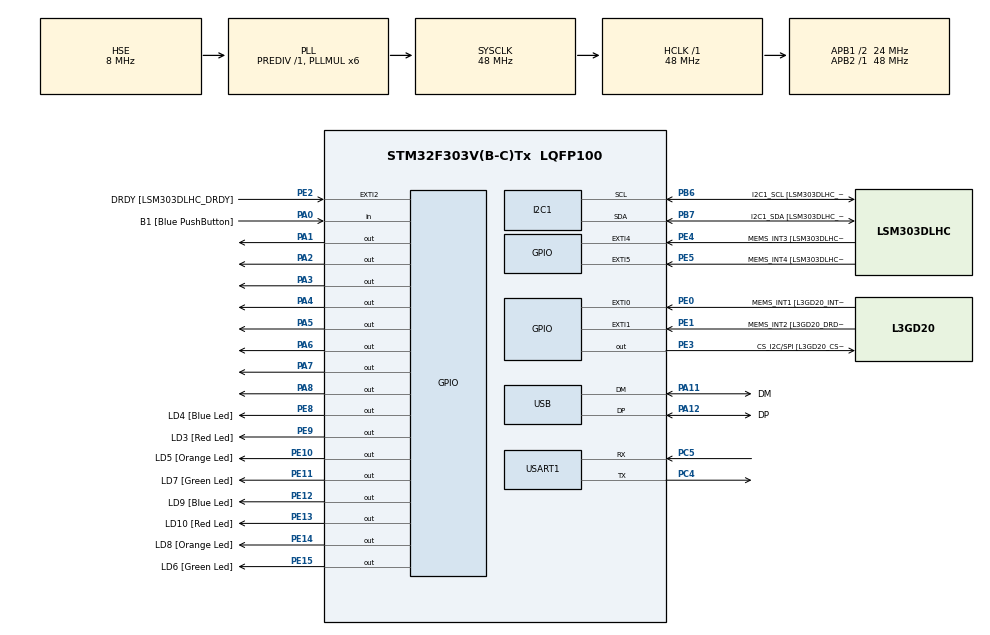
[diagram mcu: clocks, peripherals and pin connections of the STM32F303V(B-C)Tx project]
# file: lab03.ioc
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I2C1.Timing=0x00201D2B
I2C1.Timing-I2C=0x2000090E
Mcu.Family=STM32F3
Mcu.Name=STM32F303V(B-C)Tx
Mcu.Package=LQFP100
NVIC.PriorityGroup=NVIC_PRIORITYGROUP_0
NVIC.USB_LP_CAN_RX0_IRQn=true\:0\:0\:false\:false\:true\:false\:true\:true
PA0.GPIO_Label=B1 [Blue PushButton]
PA0.Signal=GPIO_Input
PA1.Signal=GPIO_Output
PA11.GPIO_Label=DM
PA11.Mode=Device
PA11.Signal=USB_DM
PA12.GPIO_Label=DP
PA12.Mode=Device
PA12.Signal=USB_DP
PA13.GPIO_Label=SWDIO
PA13.Mode=Serial_Wire
PA13.Signal=SYS_JTMS-SWDIO
PA14.GPIO_Label=SWCLK
PA14.Mode=Serial_Wire
PA14.Signal=SYS_JTCK-SWCLK
PA2.Signal=GPIO_Output
PA3.Signal=GPIO_Output
PA4.Signal=GPIO_Output
PA5.Signal=GPIO_Output
PA6.Signal=GPIO_Output
PA7.Signal=GPIO_Output
PA8.Signal=GPIO_Output
PB3.GPIO_Label=SWO
PB3.Signal=SYS_JTDO-TRACESWO
PB6.GPIO_Label=I2C1_SCL [LSM303DLHC_SCL]
PB6.GPIO_Pu=GPIO_PULLUP
PB6.Mode=I2C
PB6.Signal=I2C1_SCL
PB7.GPIO_Label=I2C1_SDA [LSM303DLHC_SDA]
PB7.GPIO_Pu=GPIO_PULLUP
PB7.Mode=I2C
PB7.Signal=I2C1_SDA
PC14-OSC32_IN.GPIO_Label=OSC32_IN
PC14-OSC32_IN.Signal=RCC_OSC32_IN
PC15-OSC32_OUT.GPIO_Label=OSC32_OUT
PC15-OSC32_OUT.Signal=RCC_OSC32_OUT
PC4.Mode=Asynchronous
PC4.Signal=USART1_TX
PC5.Mode=Asynchronous
PC5.Signal=USART1_RX
PE0.GPIO_Label=MEMS_INT1 [L3GD20_INT1]
PE0.GPIO_ModeDefaultEXTI=GPIO_MODE_EVT_RISING
PE0.Signal=GPXTI0
PE1.GPIO_Label=MEMS_INT2 [L3GD20_DRDY/INT2]
PE1.GPIO_ModeDefaultEXTI=GPIO_MODE_EVT_RISING
PE1.Signal=GPXTI1
PE10.GPIO_Label=LD5 [Orange Led]
PE10.Signal=GPIO_Output
PE11.GPIO_Label=LD7 [Green Led]
PE11.Signal=GPIO_Output
PE12.GPIO_Label=LD9 [Blue Led]
PE12.Signal=GPIO_Output
PE13.GPIO_Label=LD10 [Red Led]
PE13.Signal=GPIO_Output
PE14.GPIO_Label=LD8 [Orange Led]
PE14.Signal=GPIO_Output
PE15.GPIO_Label=LD6 [Green Led]
PE15.Signal=GPIO_Output
PE2.GPIO_Label=DRDY [LSM303DLHC_DRDY]
PE2.GPIO_ModeDefaultEXTI=GPIO_MODE_EVT_RISING
PE2.Signal=GPXTI2
PE3.GPIO_Label=CS_I2C/SPI [L3GD20_CS_I2C/SPI]
PE3.Signal=GPIO_Output
PE4.GPIO_Label=MEMS_INT3 [LSM303DLHC_INT1]
PE4.GPIO_ModeDefaultEXTI=GPIO_MODE_EVT_RISING
PE4.Signal=GPXTI4
PE5.GPIO_Label=MEMS_INT4 [LSM303DLHC_INT2]
PE5.GPIO_ModeDefaultEXTI=GPIO_MODE_EVT_RISING
PE5.Signal=GPXTI5
PE8.GPIO_Label=LD4 [Blue Led]
PE8.Signal=GPIO_Output
PE9.GPIO_Label=LD3 [Red Led]
PE9.Signal=GPIO_Output
PF0-OSC_IN.GPIO_Label=OSC_IN
PF0-OSC_IN.Mode=HSE-External-Clock-Source
PF0-OSC_IN.Signal=RCC_OSC_IN
PF1-OSC_OUT.GPIO_Label=OSC_OUT
PF1-OSC_OUT.Signal=RCC_OSC_OUT
ProjectManager.HeapSize=0x200
ProjectManager.StackSize=0x400
ProjectManager.TargetToolchain=CMake
RCC.AHBFreq_Value=48000000
RCC.APB1CLKDivider=RCC_HCLK_DIV2
RCC.APB1Freq_Value=24000000
RCC.APB1TimFreq_Value=48000000
RCC.APB2Freq_Value=48000000
RCC.APB2TimFreq_Value=48000000
RCC.CortexFreq_Value=48000000
RCC.HCLKFreq_Value=48000000
RCC.HSE_VALUE=8000000
RCC.HSI_VALUE=8000000
RCC.LSE_VALUE=32768
RCC.PLLMUL=RCC_PLL_MUL6
RCC.SYSCLKFreq_VALUE=48000000
RCC.SYSCLKSourceVirtual=RCC_SYSCLKSOURCE_PLLCLK
RCC.USBFreq_Value=48000000
USART1.VirtualMode-Asynchronous=VM_ASYNC
USB_DEVICE.CLASS_NAME_FS=CDC
USB_DEVICE.VirtualMode=Cdc
USB_DEVICE.VirtualModeFS=Cdc_FS
VP_USB_DEVICE_VS_USB_DEVICE_CDC_FS.Mode=CDC_FS
board=STM32F3DISCOVERY

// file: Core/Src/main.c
/* USER CODE BEGIN Header */
/**
  ******************************************************************************
  * @file           : main.c
  * @brief          : Main program body
  ******************************************************************************
  * @attention
  *
  * Copyright (c) 2026 STMicroelectronics.
  * All rights reserved.
  *
  * This software is licensed under terms that can be found in the LICENSE file
  * in the root directory of this software component.
  * If no LICENSE file comes with this software, it is provided AS-IS.
  *
  ******************************************************************************
  */
/* USER CODE END Header */
#include "main.h"
#include "usb_device.h"
#include <stdlib.h>

I2C_HandleTypeDef hi2c1;

UART_HandleTypeDef huart1;

void SystemClock_Config(void);
static void MX_GPIO_Init(void);
static void MX_I2C1_Init(void);
static void MX_USART1_UART_Init(void);

/* USER CODE BEGIN 0 */
// Lookup table for Common Anode 7-segment display (0-F)
const uint8_t segment_map[16] = {
    0x40, 0x79, 0x24, 0x30, 0x19, 0x12, 0x02, 0x78,
    0x00, 0x10, 0x08, 0x03, 0x46, 0x21, 0x06, 0x0E
};

// Explicitly mapping segments a-g to PA1-PA7
const uint16_t segment_pins[7] = {
    GPIO_PIN_1, // Index 0: Segment a
    GPIO_PIN_2, // Index 1: Segment b
    GPIO_PIN_3, // Index 2: Segment c
    GPIO_PIN_4, // Index 3: Segment d
    GPIO_PIN_5, // Index 4: Segment e
    GPIO_PIN_6, // Index 5: Segment f
    GPIO_PIN_7  // Index 6: Segment g
};

const uint8_t student_id[5] = {1, 0, 3, 3, 9}; // Example student ID

// Maps each digit to the correct GPIO output combination
void display_number(uint8_t num) {
    uint8_t pattern = segment_map[num];

    for (int i = 0; i < 7; i++) {
        // pattern >> i & 1 extracts the specific bit for the current segment
        HAL_GPIO_WritePin(GPIOA, segment_pins[i], (pattern >> i) & 1);
    }
}
/* USER CODE END 0 */

int main(void)
{

  /* MCU Configuration--------------------------------------------------------*/

  /* Reset of all peripherals, Initializes the Flash interface and the Systick. */
  HAL_Init();

  /* Configure the system clock */
  SystemClock_Config();

  /* Initialize all configured peripherals */
  MX_GPIO_Init();
  MX_I2C1_Init();
  MX_USART1_UART_Init();
  MX_USB_DEVICE_Init();
  /* USER CODE BEGIN 2 */
  int i = 0;
  uint8_t counter = 0; // Initialize counter to 0
  display_number(counter);

  /* USER CODE END 2 */

  /* Infinite loop */
  /* USER CODE BEGIN WHILE */

  while (1)
  {
    // taSK 1 Loop to display each value from 0 to 15 in sequence
    // for (uint8_t i = 0; i <= 15; i++) {
    //     display_number(i);

    //     // Delay for 2 seconds between transitions
    //     HAL_Delay(2000);
    // }

    //---->> taSK 2

    // if (HAL_GPIO_ReadPin(GPIOA, GPIO_PIN_0)) {
    //       display_number(student_id[i]);
    //       i = (i + 1) % 5;

    //       HAL_Delay(200);

    //       while (HAL_GPIO_ReadPin(GPIOA, GPIO_PIN_0)) {
    //           HAL_Delay(10);
    //       }
    //   }

      //------> task 2 end

      // --------> task 3

      // //INCREMENT
      // if (HAL_GPIO_ReadPin(GPIOA, GPIO_PIN_0)) {

      //     counter = (counter + 1) % 16; // Add 1, wrap back to 0 if it reaches 16
      //     display_number(counter);

      //     // Debouncing and wait-for-release logic[cite: 1]
      //     HAL_Delay(200);
      //     while (HAL_GPIO_ReadPin(GPIOA, GPIO_PIN_0) ) {
      //         HAL_Delay(10);
      //     }
      // }

      // // DECREMENT (
      // if (HAL_GPIO_ReadPin(GPIOA, GPIO_PIN_8)) {

      //     if (counter == 0) {
      //         counter = 15; // Wrap around to F (15) if currently 0
      //     } else {
      //         counter--;    // Subtract 1
      //     }
      //     display_number(counter);

      //     // Debouncing
      //     HAL_Delay(200);
      //     while (HAL_GPIO_ReadPin(GPIOA, GPIO_PIN_8) ) {
      //         HAL_Delay(10);
      //     }
      // }

      //---> task 3 end

      // --------> task 4

      // Check if the USER button (PA0) is pressed[cite: 1]
      if (HAL_GPIO_ReadPin(GPIOA, GPIO_PIN_0) ) {

          // Generate a random digit from 1 to 6[cite: 1]
          uint8_t random_digit = (rand() % 6) + 1;
          display_number(random_digit);

          // Debounce delay
          HAL_Delay(200);

          // Wait-for-release loop to prevent rapid continuous rolling
          while (HAL_GPIO_ReadPin(GPIOA, GPIO_PIN_0) ) {
              HAL_Delay(10);
          }
      }

    /* USER CODE END WHILE */

  }
}

void SystemClock_Config(void)
{
  RCC_OscInitTypeDef RCC_OscInitStruct = {0};
  RCC_ClkInitTypeDef RCC_ClkInitStruct = {0};
  RCC_PeriphCLKInitTypeDef PeriphClkInit = {0};

  /** Initializes the RCC Oscillators according to the specified parameters
  * in the RCC_OscInitTypeDef structure.
  */
  RCC_OscInitStruct.OscillatorType = RCC_OSCILLATORTYPE_HSI|RCC_OSCILLATORTYPE_HSE;
  RCC_OscInitStruct.HSEState = RCC_HSE_BYPASS;
  RCC_OscInitStruct.HSEPredivValue = RCC_HSE_PREDIV_DIV1;
  RCC_OscInitStruct.HSIState = RCC_HSI_ON;
  RCC_OscInitStruct.HSICalibrationValue = RCC_HSICALIBRATION_DEFAULT;
  RCC_OscInitStruct.PLL.PLLState = RCC_PLL_ON;
  RCC_OscInitStruct.PLL.PLLSource = RCC_PLLSOURCE_HSE;
  RCC_OscInitStruct.PLL.PLLMUL = RCC_PLL_MUL6;
  if (HAL_RCC_OscConfig(&RCC_OscInitStruct) != HAL_OK)
  {
    Error_Handler();
  }

  /** Initializes the CPU, AHB and APB buses clocks
  */
  RCC_ClkInitStruct.ClockType = RCC_CLOCKTYPE_HCLK|RCC_CLOCKTYPE_SYSCLK
                              |RCC_CLOCKTYPE_PCLK1|RCC_CLOCKTYPE_PCLK2;
  RCC_ClkInitStruct.SYSCLKSource = RCC_SYSCLKSOURCE_PLLCLK;
  RCC_ClkInitStruct.AHBCLKDivider = RCC_SYSCLK_DIV1;
  RCC_ClkInitStruct.APB1CLKDivider = RCC_HCLK_DIV2;
  RCC_ClkInitStruct.APB2CLKDivider = RCC_HCLK_DIV1;

  if (HAL_RCC_ClockConfig(&RCC_ClkInitStruct, FLASH_LATENCY_1) != HAL_OK)
  {
    Error_Handler();
  }
  PeriphClkInit.PeriphClockSelection = RCC_PERIPHCLK_USB|RCC_PERIPHCLK_USART1
                              |RCC_PERIPHCLK_I2C1;
  PeriphClkInit.Usart1ClockSelection = RCC_USART1CLKSOURCE_PCLK2;
  PeriphClkInit.I2c1ClockSelection = RCC_I2C1CLKSOURCE_HSI;
  PeriphClkInit.USBClockSelection = RCC_USBCLKSOURCE_PLL;
  if (HAL_RCCEx_PeriphCLKConfig(&PeriphClkInit) != HAL_OK)
  {
    Error_Handler();
  }
}

static void MX_I2C1_Init(void)
{

  hi2c1.Instance = I2C1;
  hi2c1.Init.Timing = 0x00201D2B;
  hi2c1.Init.OwnAddress1 = 0;
  hi2c1.Init.AddressingMode = I2C_ADDRESSINGMODE_7BIT;
  hi2c1.Init.DualAddressMode = I2C_DUALADDRESS_DISABLE;
  hi2c1.Init.OwnAddress2 = 0;
  hi2c1.Init.OwnAddress2Masks = I2C_OA2_NOMASK;
  hi2c1.Init.GeneralCallMode = I2C_GENERALCALL_DISABLE;
  hi2c1.Init.NoStretchMode = I2C_NOSTRETCH_DISABLE;
  if (HAL_I2C_Init(&hi2c1) != HAL_OK)
  {
    Error_Handler();
  }

  /** Configure Analogue filter
  */
  if (HAL_I2CEx_ConfigAnalogFilter(&hi2c1, I2C_ANALOGFILTER_ENABLE) != HAL_OK)
  {
    Error_Handler();
  }

  /** Configure Digital filter
  */
  if (HAL_I2CEx_ConfigDigitalFilter(&hi2c1, 0) != HAL_OK)
  {
    Error_Handler();
  }

}

static void MX_USART1_UART_Init(void)
{

  huart1.Instance = USART1;
  huart1.Init.BaudRate = 38400;
  huart1.Init.WordLength = UART_WORDLENGTH_8B;
  huart1.Init.StopBits = UART_STOPBITS_1;
  huart1.Init.Parity = UART_PARITY_NONE;
  huart1.Init.Mode = UART_MODE_TX_RX;
  huart1.Init.HwFlowCtl = UART_HWCONTROL_NONE;
  huart1.Init.OverSampling = UART_OVERSAMPLING_16;
  huart1.Init.OneBitSampling = UART_ONE_BIT_SAMPLE_DISABLE;
  huart1.AdvancedInit.AdvFeatureInit = UART_ADVFEATURE_NO_INIT;
  if (HAL_UART_Init(&huart1) != HAL_OK)
  {
    Error_Handler();
  }

}

static void MX_GPIO_Init(void)
{
  GPIO_InitTypeDef GPIO_InitStruct = {0};

  /* GPIO Ports Clock Enable */
  __HAL_RCC_GPIOE_CLK_ENABLE();
  __HAL_RCC_GPIOC_CLK_ENABLE();
  __HAL_RCC_GPIOF_CLK_ENABLE();
  __HAL_RCC_GPIOA_CLK_ENABLE();
  __HAL_RCC_GPIOB_CLK_ENABLE();

  /*Configure GPIO pin Output Level */
  HAL_GPIO_WritePin(GPIOE, CS_I2C_SPI_Pin|LD4_Pin|LD3_Pin|LD5_Pin
                          |LD7_Pin|LD9_Pin|LD10_Pin|LD8_Pin
                          |LD6_Pin, GPIO_PIN_RESET);

  /*Configure GPIO pin Output Level */
  HAL_GPIO_WritePin(GPIOA, GPIO_PIN_1|GPIO_PIN_2|GPIO_PIN_3|GPIO_PIN_4
                          |GPIO_PIN_5|GPIO_PIN_6|GPIO_PIN_7|GPIO_PIN_8, GPIO_PIN_RESET);

  /*Configure GPIO pins : DRDY_Pin MEMS_INT3_Pin MEMS_INT4_Pin MEMS_INT1_Pin
                           MEMS_INT2_Pin */
  GPIO_InitStruct.Pin = DRDY_Pin|MEMS_INT3_Pin|MEMS_INT4_Pin|MEMS_INT1_Pin
                          |MEMS_INT2_Pin;
  GPIO_InitStruct.Mode = GPIO_MODE_EVT_RISING;
  GPIO_InitStruct.Pull = GPIO_NOPULL;
  HAL_GPIO_Init(GPIOE, &GPIO_InitStruct);

  /*Configure GPIO pins : CS_I2C_SPI_Pin LD4_Pin LD3_Pin LD5_Pin
                           LD7_Pin LD9_Pin LD10_Pin LD8_Pin
                           LD6_Pin */
  GPIO_InitStruct.Pin = CS_I2C_SPI_Pin|LD4_Pin|LD3_Pin|LD5_Pin
                          |LD7_Pin|LD9_Pin|LD10_Pin|LD8_Pin
                          |LD6_Pin;
  GPIO_InitStruct.Mode = GPIO_MODE_OUTPUT_PP;
  GPIO_InitStruct.Pull = GPIO_NOPULL;
  GPIO_InitStruct.Speed = GPIO_SPEED_FREQ_LOW;
  HAL_GPIO_Init(GPIOE, &GPIO_InitStruct);

  /*Configure GPIO pin : B1_Pin */
  GPIO_InitStruct.Pin = B1_Pin;
  GPIO_InitStruct.Mode = GPIO_MODE_INPUT;
  GPIO_InitStruct.Pull = GPIO_NOPULL;
  HAL_GPIO_Init(B1_GPIO_Port, &GPIO_InitStruct);

  /*Configure GPIO pins : PA1 PA2 PA3 PA4
                           PA5 PA6 PA7 PA8 */
  GPIO_InitStruct.Pin = GPIO_PIN_1|GPIO_PIN_2|GPIO_PIN_3|GPIO_PIN_4
                          |GPIO_PIN_5|GPIO_PIN_6|GPIO_PIN_7|GPIO_PIN_8;
  GPIO_InitStruct.Mode = GPIO_MODE_OUTPUT_PP;
  GPIO_InitStruct.Pull = GPIO_NOPULL;
  GPIO_InitStruct.Speed = GPIO_SPEED_FREQ_LOW;
  HAL_GPIO_Init(GPIOA, &GPIO_InitStruct);

}

void Error_Handler(void)
{
  __disable_irq();
  while (1)
  {
  }
}
